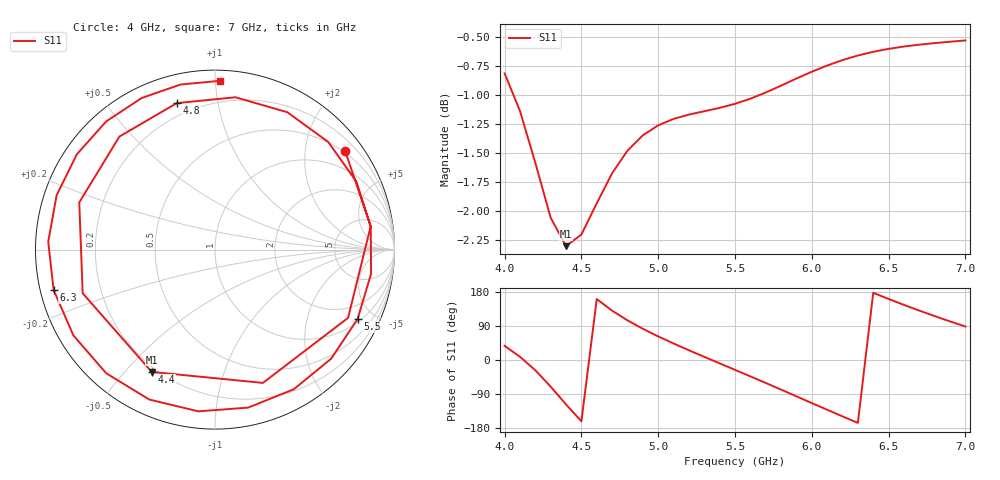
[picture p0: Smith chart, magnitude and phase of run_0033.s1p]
! Touchstone file exported from HFSS 2024.2.0
!  File:  C:/Users/wsak9/Desktop/Sim Fast/Widenad Patch/WP_AI_V1_sweep.aedt
!  Generated:  04:08:37 PM Oct 13, 2026
!  Design:  A1_model
!  Project:  WP_AI_V1_sweep
!  Setup:  Setup1
!  Solution:  Sweep
! Variables:
!  Air_gap = 3.9mm
!  Curve_Amp1 = 0.72
!  Curve_len1 = 1
!  Curve_pos = 13.03mm
!  Extra = 2.22mm
!  H_sub = 0.79mm
!  L_Patch = 22.06mm
!  L_Patch1 = 13.41mm
!  Sx = 4.62mm
!  Sy = 1.46mm
!  WS = 0.87mm
!  W_Patch = 10.11mm
!  W_Patch1 = 11.19mm
!Data is not renormalized
# GHz S MA
! Terminal data exported
! Port[1] = 1
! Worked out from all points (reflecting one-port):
!   31 points, 4 GHz to 7 GHz, reference per port
!   lowest |S11| = -2.3 dB at 4.4 GHz (marker M1), VSWR 7.60
!   phase of S11 starts at 37 deg and turns -669 deg over the sweep
!   S11 on the Smith chart (normalised r, x): 4 GHz: 0.45, +2.90; 4.4 GHz: 0.18, -0.59; 4.8 GHz: 0.14, +0.76; 5.5 GHz: 1.14, -4.03; 6.3 GHz: 0.04, -0.12; 7 GHz: 0.06, +1.03
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4  0.9105 37.3
4.1  0.8772 8.5
4.2  0.8333 -27.1
4.3  0.7893 -70.2
4.4  0.7673 -117.3
4.5  0.7763 -161.7
4.6  0.8006 160.8
4.7  0.8248 130.2
4.8  0.8434 104.6
4.9  0.8563 82.3
5  0.8649 62.3
5.1  0.8704 43.5
5.2  0.8741 25.7
5.3  0.877 8.3
5.4  0.88 -8.9
5.5  0.8835 -26.0
5.7  0.8934 -60.6
5.8  0.8996 -78.2
5.9  0.9059 -95.9
6  0.912 -113.6
6.1  0.9176 -131.3
6.2  0.9226 -148.8
6.3  0.9268 -166.0
6.4  0.9302 177.3
6.5  0.9329 161.1
6.7  0.9368 130.3
6.8  0.9382 115.8
7  0.9407 88.4
